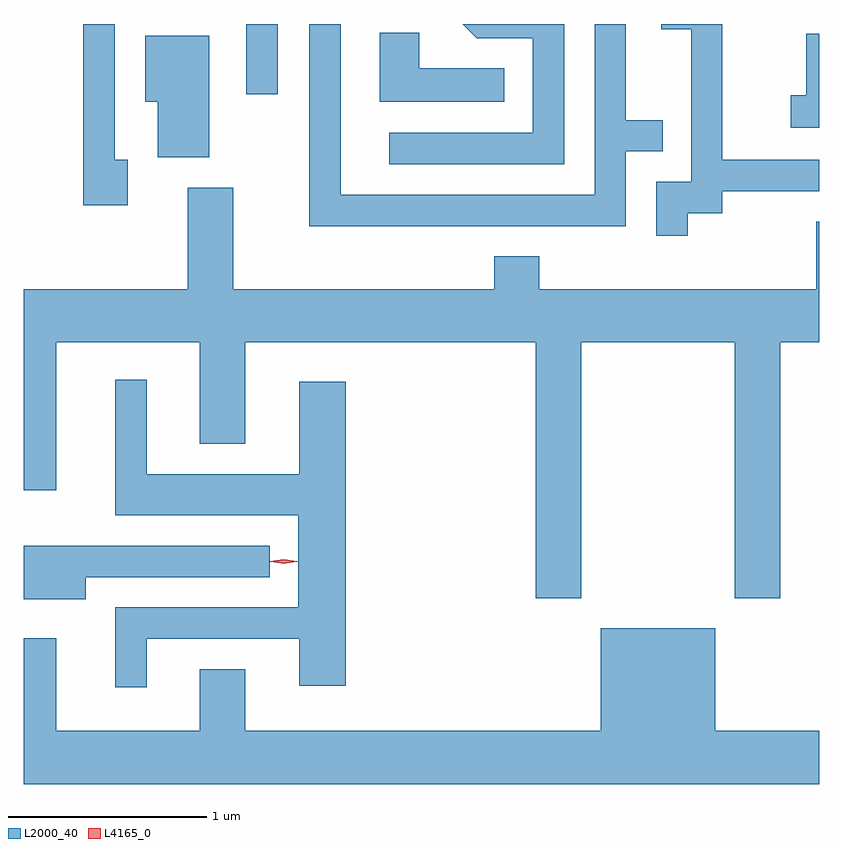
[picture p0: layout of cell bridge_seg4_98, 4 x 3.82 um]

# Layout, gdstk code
import gdstk
lib = gdstk.Library(unit=1e-6, precision=1e-09)
def R(c, l, rs):  # rectangles x0, y0, x1, y1
    for r in rs: c.add(gdstk.rectangle(r[:2], r[2:], *l))
def P(c, l, *ps):  # polygons
    for p in ps: c.add(gdstk.Polygon(p, *l))
L2000_40 = (2000, 40)
L4165_0 = (4165, 0)

bridge_seg4_98 = lib.new_cell('bridge_seg4_98')
R(bridge_seg4_98, L2000_40, [(983.116,1364.803,983.274,1365.157)])
P(bridge_seg4_98, L2000_40, [(985.334,1364.206),(985.509,1364.206),(985.509,1364.316),(985.996,1364.316),(985.996,1364.474),(985.509,1364.474),(985.509,1365.157),(985.201,1365.157),(985.201,1365.131),(985.351,1365.131),(985.351,1364.364),(985.176,1364.364),(985.176,1364.093),(985.334,1364.093)],
  [(982.519,1364.474),(982.454,1364.474),(982.454,1365.157),(982.296,1365.157),(982.296,1364.246),(982.519,1364.246)],
  [(985.024,1364.516),(985.208,1364.516),(985.208,1364.674),(985.024,1364.674),(985.024,1365.157),(984.866,1365.157),(984.866,1364.299),(983.589,1364.299),(983.589,1365.157),(983.431,1365.157),(983.431,1364.141),(985.024,1364.141)],
  [(984.714,1365.157),(984.203,1365.157),(984.274,1365.086),(984.556,1365.086),(984.556,1364.609),(983.833,1364.609),(983.833,1364.451),(984.714,1364.451)],
  [(984.413,1364.934),(983.984,1364.934),(983.984,1365.114),(983.786,1365.114),(983.786,1364.766),(984.413,1364.766)],
  [(985.996,1365.109),(985.931,1365.109),(985.931,1364.799),(985.853,1364.799),(985.853,1364.636),(985.996,1364.636)],
  [(982.929,1365.099),(982.606,1365.099),(982.606,1364.766),(982.671,1364.766),(982.671,1364.486),(982.929,1364.486)],
  [(984.799,1363.556),(985.571,1363.556),(985.571,1362.271),(985.799,1362.271),(985.799,1363.556),(985.996,1363.556),(985.996,1364.164),(985.981,1364.164),(985.981,1363.824),(984.589,1363.824),(984.589,1363.989),(984.361,1363.989),(984.361,1363.824),(983.049,1363.824),(983.049,1364.334),(982.821,1364.334),(982.821,1363.824),(981.996,1363.824),(981.996,1362.813),(982.159,1362.813),(982.159,1363.556),(982.881,1363.556),(982.881,1363.046),(983.109,1363.046),(983.109,1363.556),(984.571,1363.556),(984.571,1362.271),(984.799,1362.271)],
  [(982.614,1362.066),(983.381,1362.066),(983.381,1361.831),(983.614,1361.831),(983.614,1363.359),(983.381,1363.359),(983.381,1362.894),(982.614,1362.894),(982.614,1363.368),(982.456,1363.368),(982.456,1362.686),(983.376,1362.686),(983.376,1362.224),(982.456,1362.224),(982.456,1361.823),(982.614,1361.823)],
  [(982.309,1362.376),(983.233,1362.376),(983.233,1362.534),(981.996,1362.534),(981.996,1362.266),(982.309,1362.266)],
  [(985.996,1361.604),(985.474,1361.604),(985.474,1362.119),(984.896,1362.119),(984.896,1361.604),(983.109,1361.604),(983.109,1361.914),(982.881,1361.914),(982.881,1361.604),(982.159,1361.604),(982.159,1362.068),(981.996,1362.068),(981.996,1361.336),(985.996,1361.336)])
P(bridge_seg4_98, L4165_0, [(983.303,1362.445),(983.234,1362.454),(983.233,1362.455),(983.234,1362.455),(983.303,1362.465),(983.372,1362.455),(983.372,1362.455),(983.372,1362.454)],
  [(983.303,1362.444),(983.238,1362.453),(983.237,1362.454),(983.238,1362.454),(983.303,1362.464),(983.369,1362.454),(983.37,1362.454),(983.369,1362.453)])

lib.write_gds('bridge_seg4_98.gds')
